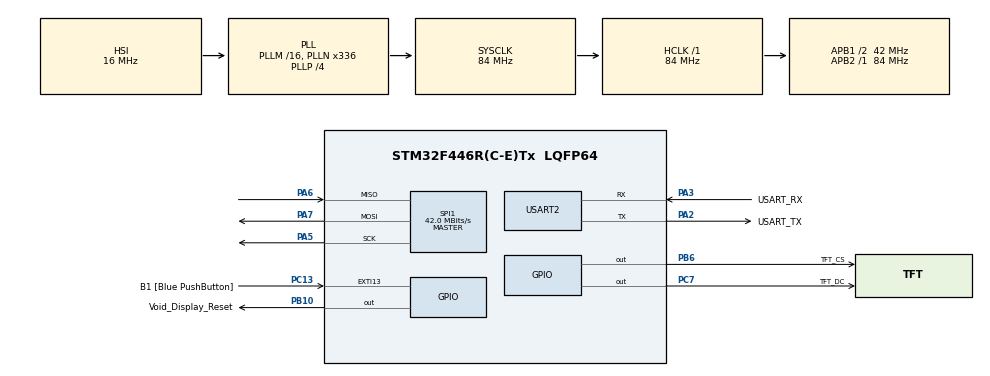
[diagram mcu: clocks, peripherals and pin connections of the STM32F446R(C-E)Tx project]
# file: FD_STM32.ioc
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Dma.Request0=SPI1_TX
Dma.SPI1_TX.0.Direction=DMA_MEMORY_TO_PERIPH
Dma.SPI1_TX.0.FIFOMode=DMA_FIFOMODE_DISABLE
Dma.SPI1_TX.0.Instance=DMA2_Stream3
Dma.SPI1_TX.0.MemDataAlignment=DMA_MDATAALIGN_BYTE
Dma.SPI1_TX.0.MemInc=DMA_MINC_ENABLE
Dma.SPI1_TX.0.Mode=DMA_NORMAL
Dma.SPI1_TX.0.PeriphDataAlignment=DMA_PDATAALIGN_BYTE
Dma.SPI1_TX.0.PeriphInc=DMA_PINC_DISABLE
Dma.SPI1_TX.0.Priority=DMA_PRIORITY_LOW
Mcu.Family=STM32F4
Mcu.Name=STM32F446R(C-E)Tx
Mcu.Package=LQFP64
NVIC.DMA2_Stream3_IRQn=true\:0\:0\:false\:false\:true\:false\:true\:true
NVIC.PriorityGroup=NVIC_PRIORITYGROUP_0
NVIC.SPI1_IRQn=true\:0\:0\:false\:false\:true\:true\:true\:true
PA13.GPIO_Label=TMS
PA13.Mode=Serial_Wire
PA13.Signal=SYS_JTMS-SWDIO
PA14.GPIO_Label=TCK
PA14.Mode=Serial_Wire
PA14.Signal=SYS_JTCK-SWCLK
PA2.GPIO_Label=USART_TX
PA2.Mode=Asynchronous
PA2.Signal=USART2_TX
PA3.GPIO_Label=USART_RX
PA3.Mode=Asynchronous
PA3.Signal=USART2_RX
PA5.Mode=Full_Duplex_Master
PA5.Signal=SPI1_SCK
PA6.Mode=Full_Duplex_Master
PA6.Signal=SPI1_MISO
PA7.Mode=Full_Duplex_Master
PA7.Signal=SPI1_MOSI
PB10.GPIO_Label=Void_Display_Reset
PB10.Signal=GPIO_Output
PB3.GPIO_Label=SWO
PB3.Signal=SYS_JTDO-SWO
PB6.GPIO_Label=TFT_CS
PB6.Signal=GPIO_Output
PC13.GPIO_Label=B1 [Blue PushButton]
PC13.GPIO_ModeDefaultEXTI=GPIO_MODE_IT_FALLING
PC13.Signal=GPXTI13
PC14-OSC32_IN.Mode=LSE-External-Oscillator
PC14-OSC32_IN.Signal=RCC_OSC32_IN
PC15-OSC32_OUT.Mode=LSE-External-Oscillator
PC15-OSC32_OUT.Signal=RCC_OSC32_OUT
PC7.GPIO_Label=TFT_DC
PC7.Signal=GPIO_Output
PH0-OSC_IN.Mode=HSE-External-Oscillator
PH0-OSC_IN.Signal=RCC_OSC_IN
PH1-OSC_OUT.Mode=HSE-External-Oscillator
PH1-OSC_OUT.Signal=RCC_OSC_OUT
ProjectManager.HeapSize=0x200
ProjectManager.StackSize=0x400
ProjectManager.TargetToolchain=MDK-ARM V5.32
RCC.48MHZClocksFreq_Value=84000000
RCC.AHBFreq_Value=84000000
RCC.APB1CLKDivider=RCC_HCLK_DIV2
RCC.APB1Freq_Value=42000000
RCC.APB1TimFreq_Value=84000000
RCC.APB2Freq_Value=84000000
RCC.APB2TimFreq_Value=84000000
RCC.CortexFreq_Value=84000000
RCC.FLatency-AdvancedSettings=FLASH_LATENCY_2
RCC.HCLKFreq_Value=84000000
RCC.HSE_VALUE=8000000
RCC.HSI_VALUE=16000000
RCC.PLLN=336
RCC.PLLP=RCC_PLLP_DIV4
RCC.SYSCLKFreq_VALUE=84000000
RCC.SYSCLKSource=RCC_SYSCLKSOURCE_PLLCLK
RCC.USBFreq_Value=168000000
RCC.VCOOutputFreq_Value=336000000
SPI1.BaudRatePrescaler=SPI_BAUDRATEPRESCALER_2
SPI1.CalculateBaudRate=42.0 MBits/s
SPI1.Direction=SPI_DIRECTION_2LINES
SPI1.Mode=SPI_MODE_MASTER
SPI1.VirtualType=VM_MASTER
USART2.VirtualMode=VM_ASYNC
board=NUCLEO-F446RE

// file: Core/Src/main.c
/* USER CODE BEGIN Header */
/**
 ******************************************************************************
 * @file           : main.c
 * @brief          : Main program body
 ******************************************************************************
 * @attention
 *
 * Copyright (c) 2023 STMicroelectronics.
 * All rights reserved.
 *
 * This software is licensed under terms that can be found in the LICENSE file
 * in the root directory of this software component.
 * If no LICENSE file comes with this software, it is provided AS-IS.
 *
 ******************************************************************************
 */
/* USER CODE END Header */
#include "main.h"
#include "dma.h"
#include "gpio.h"
#include "spi.h"
#include "usart.h"

/* USER CODE BEGIN Includes */
#include "ball.h"
#include "ili9341.h"
#include "ili9341_gfx.h"

/* USER CODE END Includes */

/* USER CODE BEGIN PV */
#define MAX_BALL 3
ili9341_t *_screen;
struct ball_s myball_array[MAX_BALL]; // Add extern for assemby declaration
/* USER CODE END PV */

void SystemClock_Config(void);

/* USER CODE BEGIN PFP */
void update_myball_array(void);
void asm_init_myball_array(void);
void asm_draw_all_ball_3D(struct ball_s *p_ball, int nb_ball);
/* USER CODE END PFP */

int main(void) {

  /* MCU Configuration--------------------------------------------------------*/

  /* Reset of all peripherals, Initializes the Flash interface and the Systick.
   */
  HAL_Init();

  /* Configure the system clock */
  SystemClock_Config();

  /* Initialize all configured peripherals */
  MX_GPIO_Init();
  MX_DMA_Init();
  MX_USART2_UART_Init();
  MX_SPI1_Init();
  /* USER CODE BEGIN 2 */
  _screen = ili9341_new(&hspi1, Void_Display_Reset_GPIO_Port,
                        Void_Display_Reset_Pin, TFT_CS_GPIO_Port, TFT_CS_Pin,
                        TFT_DC_GPIO_Port, TFT_DC_Pin, isoLandscape, NULL, NULL,
                        NULL, NULL, itsNotSupported, itnNormalized);

  ili9341_fill_screen(_screen, ILI9341_BLACK);

  struct ball_s myball;
  myball.x = 120;
  myball.y = 160;
  myball.radius = 40;
  myball.color = ILI9341_GREEN;

  draw_ball_3D(&myball);

  //int i;

  // for (i = 0; i < MAX_BALL; i++) {
  //  myball_array[i].radius = -1;
  // }

  // Experience 2
  // Uncomment here after to call the assembly function
  asm_init_myball_array();

  // Experience 3
  // Comment here after to call the assembly function
  draw_all_ball_3D(myball_array, MAX_BALL);

  // Uncomment here after to call the assembly function
  // asm_draw_all_ball_3D(myball_array, MAX_BALL);

  /* USER CODE END 2 */

  /* Infinite loop */
  while (1) {

  }
}

void SystemClock_Config(void) {
  RCC_OscInitTypeDef RCC_OscInitStruct = {0};
  RCC_ClkInitTypeDef RCC_ClkInitStruct = {0};

  /** Configure the main internal regulator output voltage
   */
  __HAL_RCC_PWR_CLK_ENABLE();
  __HAL_PWR_VOLTAGESCALING_CONFIG(PWR_REGULATOR_VOLTAGE_SCALE3);

  /** Initializes the RCC Oscillators according to the specified parameters
   * in the RCC_OscInitTypeDef structure.
   */
  RCC_OscInitStruct.OscillatorType = RCC_OSCILLATORTYPE_HSI;
  RCC_OscInitStruct.HSIState = RCC_HSI_ON;
  RCC_OscInitStruct.HSICalibrationValue = RCC_HSICALIBRATION_DEFAULT;
  RCC_OscInitStruct.PLL.PLLState = RCC_PLL_ON;
  RCC_OscInitStruct.PLL.PLLSource = RCC_PLLSOURCE_HSI;
  RCC_OscInitStruct.PLL.PLLM = 16;
  RCC_OscInitStruct.PLL.PLLN = 336;
  RCC_OscInitStruct.PLL.PLLP = RCC_PLLP_DIV4;
  RCC_OscInitStruct.PLL.PLLQ = 2;
  RCC_OscInitStruct.PLL.PLLR = 2;
  if (HAL_RCC_OscConfig(&RCC_OscInitStruct) != HAL_OK) {
    Error_Handler();
  }

  /** Initializes the CPU, AHB and APB buses clocks
   */
  RCC_ClkInitStruct.ClockType = RCC_CLOCKTYPE_HCLK | RCC_CLOCKTYPE_SYSCLK |
                                RCC_CLOCKTYPE_PCLK1 | RCC_CLOCKTYPE_PCLK2;
  RCC_ClkInitStruct.SYSCLKSource = RCC_SYSCLKSOURCE_PLLCLK;
  RCC_ClkInitStruct.AHBCLKDivider = RCC_SYSCLK_DIV1;
  RCC_ClkInitStruct.APB1CLKDivider = RCC_HCLK_DIV2;
  RCC_ClkInitStruct.APB2CLKDivider = RCC_HCLK_DIV1;

  if (HAL_RCC_ClockConfig(&RCC_ClkInitStruct, FLASH_LATENCY_2) != HAL_OK) {
    Error_Handler();
  }
}

void Error_Handler(void) {
  __disable_irq();
  while (1) {
  }
}

#ifdef USE_FULL_ASSERT
/**
 * @brief  Reports the name of the source file and the source line number
 *         where the assert_param error has occurred.
 * @param  file: pointer to the source file name
 * @param  line: assert_param error line source number
 * @retval None
 */
void assert_failed(uint8_t *file, uint32_t line) {
  /* USER CODE BEGIN 6 */
  /* User can add his own implementation to report the file name and line
     number,
     ex: printf("Wrong parameters value: file %s on line %d\r\n", file, line) */
  /* USER CODE END 6 */
}
#endif /* USE_FULL_ASSERT */
